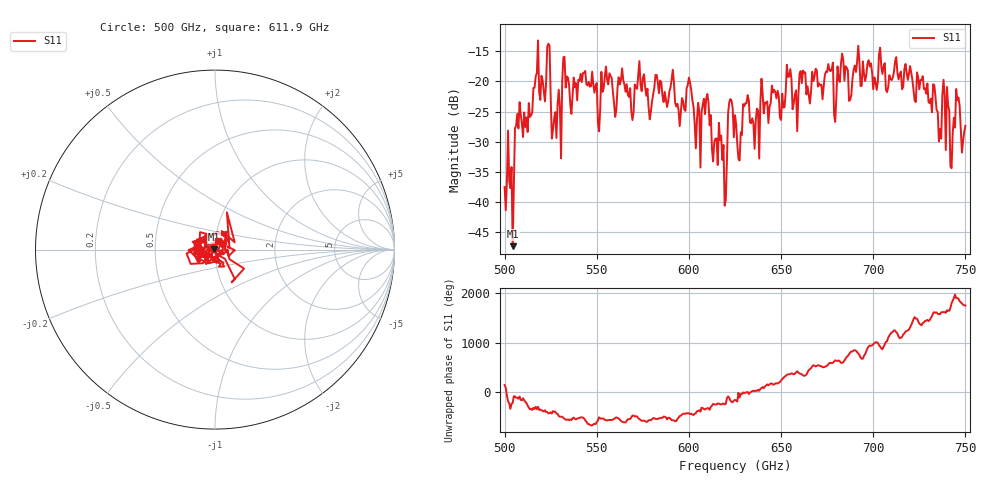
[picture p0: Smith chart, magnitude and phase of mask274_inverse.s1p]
!Created with skrf (http://scikit-rf.org).
# GHz S MA R 50.0
!freq magS11 angS11
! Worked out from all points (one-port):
!   401 points, 500 GHz to 750 GHz, reference 50 ohm
!   lowest |S11| = -47.3 dB at 504.4 GHz (marker M1), VSWR 1.01, Z = 49.6 + j0.217 ohm
!   |S11| at or under -10 dB: start of sweep to end of sweep
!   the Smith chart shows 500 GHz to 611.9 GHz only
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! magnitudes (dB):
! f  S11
! 500 GHz  -37.5
! 504.4 GHz  -47.3
! 506.9 GHz  -25.4
! 513.8 GHz  -25.9
! 516.9 GHz  -19.2
! 523.8 GHz  -13.8
! 526.9 GHz  -26.2
! 531.2 GHz  -19.9
! 562.5 GHz  -20.5
! 579.4 GHz  -25.0
! 590.6 GHz  -19.7
! 593.8 GHz  -23.7
! 600 GHz  -19.4
! 605 GHz  -23.6
! 609.4 GHz  -22.8
! 619.4 GHz  -40.6
! 622.5 GHz  -22.9
! 625 GHz  -25.6
! 656.2 GHz  -24.6
! 683.8 GHz  -16.5
! 687.5 GHz  -23.1
! 691.2 GHz  -16.8
! 718.8 GHz  -19.8
! 735.6 GHz  -30.0
! 738.8 GHz  -22.4
! 743.1 GHz  -28.5
! 745.6 GHz  -23.1
! 750 GHz  -27.4
